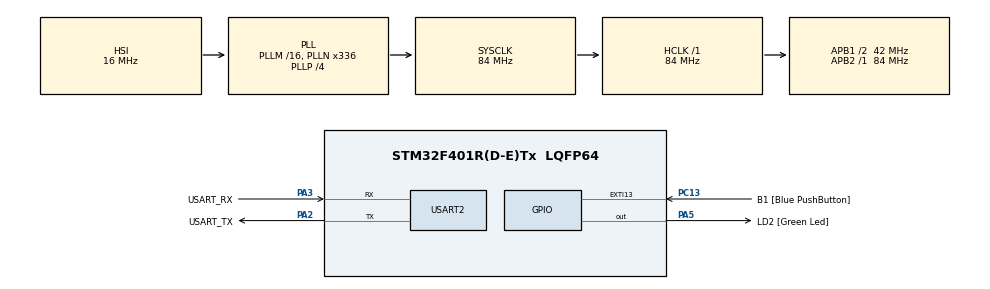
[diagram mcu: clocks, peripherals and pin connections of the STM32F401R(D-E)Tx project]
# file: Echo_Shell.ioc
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Mcu.Family=STM32F4
Mcu.Name=STM32F401R(D-E)Tx
Mcu.Package=LQFP64
NVIC.PriorityGroup=NVIC_PRIORITYGROUP_4
PA13.GPIO_Label=TMS
PA13.Mode=Trace_Asynchronous_SW
PA13.Signal=SYS_JTMS-SWDIO
PA14.GPIO_Label=TCK
PA14.Mode=Trace_Asynchronous_SW
PA14.Signal=SYS_JTCK-SWCLK
PA2.GPIO_Label=USART_TX
PA2.GPIO_Mode=GPIO_MODE_AF_PP
PA2.GPIO_PuPd=GPIO_NOPULL
PA2.GPIO_Speed=GPIO_SPEED_FREQ_LOW
PA2.Mode=Asynchronous
PA2.Signal=USART2_TX
PA3.GPIO_Label=USART_RX
PA3.GPIO_Mode=GPIO_MODE_AF_PP
PA3.GPIO_PuPd=GPIO_NOPULL
PA3.GPIO_Speed=GPIO_SPEED_FREQ_LOW
PA3.Mode=Asynchronous
PA3.Signal=USART2_RX
PA5.GPIO_Label=LD2 [Green Led]
PA5.GPIO_Mode=GPIO_MODE_OUTPUT_PP
PA5.GPIO_PuPd=GPIO_NOPULL
PA5.GPIO_Speed=GPIO_SPEED_FREQ_LOW
PA5.Signal=GPIO_Output
PB3.GPIO_Label=SWO
PB3.Mode=Trace_Asynchronous_SW
PB3.Signal=SYS_JTDO-SWO
PC13-ANTI_TAMP.GPIO_Label=B1 [Blue PushButton]
PC13-ANTI_TAMP.GPIO_ModeDefaultEXTI=GPIO_MODE_IT_FALLING
PC13-ANTI_TAMP.GPIO_PuPd=GPIO_NOPULL
PC13-ANTI_TAMP.Signal=GPXTI13
PC14-OSC32_IN.Mode=LSE-External-Oscillator
PC14-OSC32_IN.Signal=RCC_OSC32_IN
PC15-OSC32_OUT.Mode=LSE-External-Oscillator
PC15-OSC32_OUT.Signal=RCC_OSC32_OUT
PH0\ -\ OSC_IN.Mode=HSE-External-Clock-Source
PH0\ -\ OSC_IN.Signal=RCC_OSC_IN
PH1\ -\ OSC_OUT.Mode=HSE-External-Clock-Source
PH1\ -\ OSC_OUT.Signal=RCC_OSC_OUT
ProjectManager.HeapSize=0x200
ProjectManager.StackSize=0x400
ProjectManager.TargetToolchain=STM32CubeIDE
RCC.48MHZClocksFreq_Value=48000000
RCC.AHBFreq_Value=84000000
RCC.APB1CLKDivider=RCC_HCLK_DIV2
RCC.APB1Freq_Value=42000000
RCC.APB1TimFreq_Value=84000000
RCC.APB2Freq_Value=84000000
RCC.APB2TimFreq_Value=84000000
RCC.CortexFreq_Value=84000000
RCC.HCLKFreq_Value=84000000
RCC.HSE_VALUE=8000000
RCC.HSI_VALUE=16000000
RCC.PLLN=336
RCC.PLLP=RCC_PLLP_DIV4
RCC.PLLQ=7
RCC.SYSCLKFreq_VALUE=84000000
RCC.SYSCLKSource=RCC_SYSCLKSOURCE_PLLCLK
RCC.VCOOutputFreq_Value=336000000
USART2.VirtualMode=VM_ASYNC
board=NUCLEO-F401RE

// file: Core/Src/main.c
/* USER CODE BEGIN Header */
/**
  ******************************************************************************
  * @file           : main.c
  * @brief          : Main program body
  ******************************************************************************
  * @attention
  *
  * Copyright (c) 2026 STMicroelectronics.
  * All rights reserved.
  *
  * This software is licensed under terms that can be found in the LICENSE file
  * in the root directory of this software component.
  * If no LICENSE file comes with this software, it is provided AS-IS.
  *
  ******************************************************************************
  */
/* USER CODE END Header */
#include "main.h"

/* USER CODE BEGIN Includes */
#include "string.h"
/* USER CODE END Includes */

UART_HandleTypeDef huart2;

/* USER CODE BEGIN PV */
	char tx_buff[3] = {0}; // transfer buffer
	char rx_buff[1] = {0}; // receive buffer
/* USER CODE END PV */

void SystemClock_Config(void);
static void MX_GPIO_Init(void);
static void MX_USART2_UART_Init(void);
/* USER CODE BEGIN PFP */
void transfer_message(void);
/* USER CODE END PFP */

/* USER CODE BEGIN 0 */

int main(void)
{

  /* MCU Configuration--------------------------------------------------------*/

  /* Reset of all peripherals, Initializes the Flash interface and the Systick. */
  HAL_Init();

  /* Configure the system clock */
  SystemClock_Config();

  /* Initialize all configured peripherals */
  MX_GPIO_Init();
  MX_USART2_UART_Init();
  /* USER CODE BEGIN 2 */

	// receive first byte in interrupt mode
	HAL_UART_Receive_IT(&huart2, (uint8_t*)rx_buff, 1);
  /* USER CODE END 2 */

  /* Infinite loop */
  while (1)
  {

  }
}

void SystemClock_Config(void)
{
  RCC_OscInitTypeDef RCC_OscInitStruct = {0};
  RCC_ClkInitTypeDef RCC_ClkInitStruct = {0};

  /** Configure the main internal regulator output voltage
  */
  __HAL_RCC_PWR_CLK_ENABLE();
  __HAL_PWR_VOLTAGESCALING_CONFIG(PWR_REGULATOR_VOLTAGE_SCALE2);

  /** Initializes the RCC Oscillators according to the specified parameters
  * in the RCC_OscInitTypeDef structure.
  */
  RCC_OscInitStruct.OscillatorType = RCC_OSCILLATORTYPE_HSI;
  RCC_OscInitStruct.HSIState = RCC_HSI_ON;
  RCC_OscInitStruct.HSICalibrationValue = RCC_HSICALIBRATION_DEFAULT;
  RCC_OscInitStruct.PLL.PLLState = RCC_PLL_ON;
  RCC_OscInitStruct.PLL.PLLSource = RCC_PLLSOURCE_HSI;
  RCC_OscInitStruct.PLL.PLLM = 16;
  RCC_OscInitStruct.PLL.PLLN = 336;
  RCC_OscInitStruct.PLL.PLLP = RCC_PLLP_DIV4;
  RCC_OscInitStruct.PLL.PLLQ = 7;
  if (HAL_RCC_OscConfig(&RCC_OscInitStruct) != HAL_OK)
  {
    Error_Handler();
  }

  /** Initializes the CPU, AHB and APB buses clocks
  */
  RCC_ClkInitStruct.ClockType = RCC_CLOCKTYPE_HCLK|RCC_CLOCKTYPE_SYSCLK
                              |RCC_CLOCKTYPE_PCLK1|RCC_CLOCKTYPE_PCLK2;
  RCC_ClkInitStruct.SYSCLKSource = RCC_SYSCLKSOURCE_PLLCLK;
  RCC_ClkInitStruct.AHBCLKDivider = RCC_SYSCLK_DIV1;
  RCC_ClkInitStruct.APB1CLKDivider = RCC_HCLK_DIV2;
  RCC_ClkInitStruct.APB2CLKDivider = RCC_HCLK_DIV1;

  if (HAL_RCC_ClockConfig(&RCC_ClkInitStruct, FLASH_LATENCY_2) != HAL_OK)
  {
    Error_Handler();
  }
}

static void MX_USART2_UART_Init(void)
{

  huart2.Instance = USART2;
  huart2.Init.BaudRate = 115200;
  huart2.Init.WordLength = UART_WORDLENGTH_8B;
  huart2.Init.StopBits = UART_STOPBITS_1;
  huart2.Init.Parity = UART_PARITY_NONE;
  huart2.Init.Mode = UART_MODE_TX_RX;
  huart2.Init.HwFlowCtl = UART_HWCONTROL_NONE;
  huart2.Init.OverSampling = UART_OVERSAMPLING_16;
  if (HAL_UART_Init(&huart2) != HAL_OK)
  {
    Error_Handler();
  }
  /* USER CODE BEGIN USART2_Init 2 */
  // Init UART's ISR and call HAL's UART IT handler
  HAL_NVIC_EnableIRQ(USART2_IRQn);
  /* USER CODE END USART2_Init 2 */

}

static void MX_GPIO_Init(void)
{
  GPIO_InitTypeDef GPIO_InitStruct = {0};

  /* GPIO Ports Clock Enable */
  __HAL_RCC_GPIOC_CLK_ENABLE();
  __HAL_RCC_GPIOH_CLK_ENABLE();
  __HAL_RCC_GPIOA_CLK_ENABLE();
  __HAL_RCC_GPIOB_CLK_ENABLE();

  /*Configure GPIO pin Output Level */
  HAL_GPIO_WritePin(LD2_GPIO_Port, LD2_Pin, GPIO_PIN_RESET);

  /*Configure GPIO pin : B1_Pin */
  GPIO_InitStruct.Pin = B1_Pin;
  GPIO_InitStruct.Mode = GPIO_MODE_IT_FALLING;
  GPIO_InitStruct.Pull = GPIO_NOPULL;
  HAL_GPIO_Init(B1_GPIO_Port, &GPIO_InitStruct);

  /*Configure GPIO pin : LD2_Pin */
  GPIO_InitStruct.Pin = LD2_Pin;
  GPIO_InitStruct.Mode = GPIO_MODE_OUTPUT_PP;
  GPIO_InitStruct.Pull = GPIO_NOPULL;
  GPIO_InitStruct.Speed = GPIO_SPEED_FREQ_LOW;
  HAL_GPIO_Init(LD2_GPIO_Port, &GPIO_InitStruct);

}

/* USER CODE BEGIN 4 */
void USART2_IRQHandler(void) {
	HAL_UART_IRQHandler(&huart2);
}

void HAL_UART_RxCpltCallback(UART_HandleTypeDef* huart) {
	if (huart->Instance == USART2) {
		transfer_message();
		HAL_UART_Transmit_IT(huart, (uint8_t*)tx_buff, 3);
	}
}

void HAL_UART_TxCpltCallback(UART_HandleTypeDef* huart) {
	if (huart->Instance == USART2) {
		HAL_UART_Receive_IT(huart, (uint8_t*)rx_buff, 1);
	}
}

// handle different types of chars user can send
void transfer_message(void) {
	// insert a newline char if user pressed "enter" ('\r')
	if (rx_buff[0] == '\r') {
		tx_buff[1] = '\n';
	}
	// implement "delete" by sending backspace, space, backspace
	else if (rx_buff[0] == '\177') {
		tx_buff[0] = '\b';
		tx_buff[1] = ' ';
		tx_buff[2] = '\b';
		return;
	}
	// set 2nd and 3rd byte to "null" for normal chars
	else {
		tx_buff[1] = '\0';
		tx_buff[2] = '\0';
	}
	tx_buff[0] = rx_buff[0];
}
/* USER CODE END 4 */

void Error_Handler(void)
{
  __disable_irq();
  while (1)
  {
  }
}
